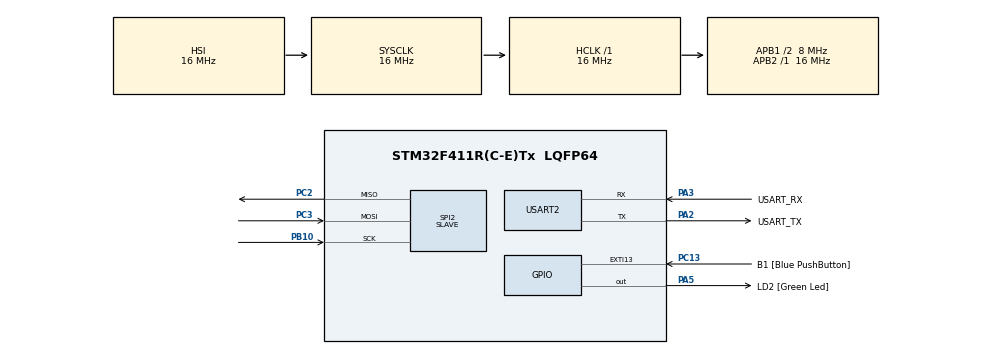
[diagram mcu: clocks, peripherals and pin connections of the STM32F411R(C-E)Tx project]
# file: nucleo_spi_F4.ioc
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Mcu.Family=STM32F4
Mcu.Name=STM32F411R(C-E)Tx
Mcu.Package=LQFP64
NVIC.PriorityGroup=NVIC_PRIORITYGROUP_0
NVIC.SPI2_IRQn=true\:0\:0\:false\:false\:true\:true
NVIC.TIM3_IRQn=true\:0\:0\:false\:false\:true\:true
PA13.GPIO_Label=TMS
PA13.Signal=SYS_JTMS-SWDIO
PA14.GPIO_Label=TCK
PA14.Signal=SYS_JTCK-SWCLK
PA2.GPIO_Label=USART_TX
PA2.Mode=Asynchronous
PA2.Signal=USART2_TX
PA3.GPIO_Label=USART_RX
PA3.Mode=Asynchronous
PA3.Signal=USART2_RX
PA5.GPIO_Label=LD2 [Green Led]
PA5.Signal=GPIO_Output
PA5.Stacked=true
PB10.Mode=Full_Duplex_Slave
PB10.Signal=SPI2_SCK
PB3.GPIO_Label=SWO
PB3.Signal=SYS_JTDO-SWO
PC13-ANTI_TAMP.GPIO_Label=B1 [Blue PushButton]
PC13-ANTI_TAMP.GPIO_ModeDefaultEXTI=GPIO_MODE_IT_FALLING
PC13-ANTI_TAMP.Signal=GPXTI13
PC14-OSC32_IN.Signal=RCC_OSC32_IN
PC15-OSC32_OUT.Signal=RCC_OSC32_OUT
PC2.Mode=Full_Duplex_Slave
PC2.Signal=SPI2_MISO
PC3.Mode=Full_Duplex_Slave
PC3.Signal=SPI2_MOSI
PH0\ -\ OSC_IN.Signal=RCC_OSC_IN
PH1\ -\ OSC_OUT.Signal=RCC_OSC_OUT
ProjectManager.HeapSize=0x200
ProjectManager.StackSize=0x400
ProjectManager.TargetToolchain=Makefile
RCC.48MHZClocksFreq_Value=84000000
RCC.AHBFreq_Value=16000000
RCC.APB1CLKDivider=RCC_HCLK_DIV2
RCC.APB1Freq_Value=8000000
RCC.APB1TimFreq_Value=16000000
RCC.APB2Freq_Value=16000000
RCC.APB2TimFreq_Value=16000000
RCC.CortexFreq_Value=16000000
RCC.FLatency-AdvancedSettings=FLASH_LATENCY_0
RCC.HCLKFreq_Value=16000000
RCC.HSE_VALUE=8000000
RCC.HSI_VALUE=16000000
RCC.LSE_VALUE=32768
RCC.PLLN=336
RCC.PLLP=RCC_PLLP_DIV4
RCC.SYSCLKFreq_VALUE=16000000
RCC.VCOOutputFreq_Value=336000000
SPI2.Direction=SPI_DIRECTION_2LINES
SPI2.Mode=SPI_MODE_SLAVE
SPI2.VirtualType=VM_SLAVE
TIM3.Period=1000
TIM3.Prescaler=16000
USART2.VirtualMode=VM_ASYNC
VP_TIM3_VS_ClockSourceINT.Mode=Internal
board=NUCLEO-F411RE

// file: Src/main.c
/**
  ******************************************************************************
  * File Name          : main.c
  * Description        : Main program body
  ******************************************************************************
  ** This notice applies to any and all portions of this file
  * that are not between comment pairs USER CODE BEGIN and
  * USER CODE END. Other portions of this file, whether
  * inserted by the user or by software development tools
  * are owned by their respective copyright owners.
  *
  * COPYRIGHT(c) 2018 STMicroelectronics
  *
  * Redistribution and use in source and binary forms, with or without modification,
  * are permitted provided that the following conditions are met:
  *   1. Redistributions of source code must retain the above copyright notice,
  *      this list of conditions and the following disclaimer.
  *   2. Redistributions in binary form must reproduce the above copyright notice,
  *      this list of conditions and the following disclaimer in the documentation
  *      and/or other materials provided with the distribution.
  *   3. Neither the name of STMicroelectronics nor the names of its contributors
  *      may be used to endorse or promote products derived from this software
  *      without specific prior written permission.
  *
  * THIS SOFTWARE IS PROVIDED BY THE COPYRIGHT HOLDERS AND CONTRIBUTORS "AS IS"
  * AND ANY EXPRESS OR IMPLIED WARRANTIES, INCLUDING, BUT NOT LIMITED TO, THE
  * IMPLIED WARRANTIES OF MERCHANTABILITY AND FITNESS FOR A PARTICULAR PURPOSE ARE
  * DISCLAIMED. IN NO EVENT SHALL THE COPYRIGHT HOLDER OR CONTRIBUTORS BE LIABLE
  * FOR ANY DIRECT, INDIRECT, INCIDENTAL, SPECIAL, EXEMPLARY, OR CONSEQUENTIAL
  * DAMAGES (INCLUDING, BUT NOT LIMITED TO, PROCUREMENT OF SUBSTITUTE GOODS OR
  * SERVICES; LOSS OF USE, DATA, OR PROFITS; OR BUSINESS INTERRUPTION) HOWEVER
  * CAUSED AND ON ANY THEORY OF LIABILITY, WHETHER IN CONTRACT, STRICT LIABILITY,
  * OR TORT (INCLUDING NEGLIGENCE OR OTHERWISE) ARISING IN ANY WAY OUT OF THE USE
  * OF THIS SOFTWARE, EVEN IF ADVISED OF THE POSSIBILITY OF SUCH DAMAGE.
  *
  ******************************************************************************
  */

#include "main.h"
#include "stm32f4xx_hal.h"

SPI_HandleTypeDef hspi2;

TIM_HandleTypeDef htim3;

UART_HandleTypeDef huart2;

/* USER CODE BEGIN PV */
/* Private variables ---------------------------------------------------------*/
volatile uint8_t spiTxBuf[9] = {0x00, 0x01, 0x02, 0x03, 0x04, 0x05, 0x06, 0x07, 0x08};
volatile uint8_t spiRxBuf[32];
/* USER CODE END PV */

void SystemClock_Config(void);
static void MX_GPIO_Init(void);
static void MX_SPI2_Init(void);
static void MX_TIM3_Init(void);
static void MX_USART2_UART_Init(void);

/* USER CODE BEGIN PFP */
/* Private function prototypes -----------------------------------------------*/

/* USER CODE END PFP */

int main(void)
{

  /* MCU Configuration----------------------------------------------------------*/

  /* Reset of all peripherals, Initializes the Flash interface and the Systick. */
  HAL_Init();

  /* Configure the system clock */
  SystemClock_Config();

  /* Initialize all configured peripherals */
  MX_GPIO_Init();
  MX_SPI2_Init();
  MX_TIM3_Init();
  MX_USART2_UART_Init();

  /* USER CODE BEGIN 2 */
  HAL_TIM_Base_Start_IT(&htim3);
  /* USER CODE END 2 */

  /* Infinite loop */
  /* USER CODE BEGIN WHILE */
  HAL_SPI_Receive_IT(&hspi2, (uint8_t*)spiRxBuf, sizeof(spiRxBuf));
  //HAL_SPI_TransmitReceive_IT(&hspi2, (uint8_t*)spiTxBuf, (uint8_t*)spiRxBuf, sizeof(spiTxBuf));
  while (1)
  {
  /* USER CODE END WHILE */

  }

}

/** System Clock Configuration
*/
void SystemClock_Config(void)
{

  RCC_OscInitTypeDef RCC_OscInitStruct;
  RCC_ClkInitTypeDef RCC_ClkInitStruct;

    /**Configure the main internal regulator output voltage
    */
  __HAL_RCC_PWR_CLK_ENABLE();

  __HAL_PWR_VOLTAGESCALING_CONFIG(PWR_REGULATOR_VOLTAGE_SCALE1);

    /**Initializes the CPU, AHB and APB busses clocks
    */
  RCC_OscInitStruct.OscillatorType = RCC_OSCILLATORTYPE_HSI;
  RCC_OscInitStruct.HSIState = RCC_HSI_ON;
  RCC_OscInitStruct.HSICalibrationValue = 16;
  RCC_OscInitStruct.PLL.PLLState = RCC_PLL_NONE;
  if (HAL_RCC_OscConfig(&RCC_OscInitStruct) != HAL_OK)
  {
    _Error_Handler(__FILE__, __LINE__);
  }

    /**Initializes the CPU, AHB and APB busses clocks
    */
  RCC_ClkInitStruct.ClockType = RCC_CLOCKTYPE_HCLK|RCC_CLOCKTYPE_SYSCLK
                              |RCC_CLOCKTYPE_PCLK1|RCC_CLOCKTYPE_PCLK2;
  RCC_ClkInitStruct.SYSCLKSource = RCC_SYSCLKSOURCE_HSI;
  RCC_ClkInitStruct.AHBCLKDivider = RCC_SYSCLK_DIV1;
  RCC_ClkInitStruct.APB1CLKDivider = RCC_HCLK_DIV2;
  RCC_ClkInitStruct.APB2CLKDivider = RCC_HCLK_DIV1;

  if (HAL_RCC_ClockConfig(&RCC_ClkInitStruct, FLASH_LATENCY_0) != HAL_OK)
  {
    _Error_Handler(__FILE__, __LINE__);
  }

    /**Configure the Systick interrupt time
    */
  HAL_SYSTICK_Config(HAL_RCC_GetHCLKFreq()/1000);

    /**Configure the Systick
    */
  HAL_SYSTICK_CLKSourceConfig(SYSTICK_CLKSOURCE_HCLK);

  /* SysTick_IRQn interrupt configuration */
  HAL_NVIC_SetPriority(SysTick_IRQn, 0, 0);
}

/* SPI2 init function */
static void MX_SPI2_Init(void)
{

  /* SPI2 parameter configuration*/
  hspi2.Instance = SPI2;
  hspi2.Init.Mode = SPI_MODE_SLAVE;
  hspi2.Init.Direction = SPI_DIRECTION_2LINES;
  hspi2.Init.DataSize = SPI_DATASIZE_8BIT;
  hspi2.Init.CLKPolarity = SPI_POLARITY_LOW;
  hspi2.Init.CLKPhase = SPI_PHASE_1EDGE;
  hspi2.Init.NSS = SPI_NSS_SOFT;
  hspi2.Init.FirstBit = SPI_FIRSTBIT_MSB;
  hspi2.Init.TIMode = SPI_TIMODE_DISABLE;
  hspi2.Init.CRCCalculation = SPI_CRCCALCULATION_DISABLE;
  hspi2.Init.CRCPolynomial = 10;
  if (HAL_SPI_Init(&hspi2) != HAL_OK)
  {
    _Error_Handler(__FILE__, __LINE__);
  }

}

/* TIM3 init function */
static void MX_TIM3_Init(void)
{

  TIM_ClockConfigTypeDef sClockSourceConfig;
  TIM_MasterConfigTypeDef sMasterConfig;

  htim3.Instance = TIM3;
  htim3.Init.Prescaler = 16000;
  htim3.Init.CounterMode = TIM_COUNTERMODE_UP;
  htim3.Init.Period = 1000;
  htim3.Init.ClockDivision = TIM_CLOCKDIVISION_DIV1;
  if (HAL_TIM_Base_Init(&htim3) != HAL_OK)
  {
    _Error_Handler(__FILE__, __LINE__);
  }

  sClockSourceConfig.ClockSource = TIM_CLOCKSOURCE_INTERNAL;
  if (HAL_TIM_ConfigClockSource(&htim3, &sClockSourceConfig) != HAL_OK)
  {
    _Error_Handler(__FILE__, __LINE__);
  }

  sMasterConfig.MasterOutputTrigger = TIM_TRGO_RESET;
  sMasterConfig.MasterSlaveMode = TIM_MASTERSLAVEMODE_DISABLE;
  if (HAL_TIMEx_MasterConfigSynchronization(&htim3, &sMasterConfig) != HAL_OK)
  {
    _Error_Handler(__FILE__, __LINE__);
  }

}

/* USART2 init function */
static void MX_USART2_UART_Init(void)
{

  huart2.Instance = USART2;
  huart2.Init.BaudRate = 115200;
  huart2.Init.WordLength = UART_WORDLENGTH_8B;
  huart2.Init.StopBits = UART_STOPBITS_1;
  huart2.Init.Parity = UART_PARITY_NONE;
  huart2.Init.Mode = UART_MODE_TX_RX;
  huart2.Init.HwFlowCtl = UART_HWCONTROL_NONE;
  huart2.Init.OverSampling = UART_OVERSAMPLING_16;
  if (HAL_UART_Init(&huart2) != HAL_OK)
  {
    _Error_Handler(__FILE__, __LINE__);
  }

}

/** Configure pins as
        * Analog
        * Input
        * Output
        * EVENT_OUT
        * EXTI
*/
static void MX_GPIO_Init(void)
{

  GPIO_InitTypeDef GPIO_InitStruct;

  /* GPIO Ports Clock Enable */
  __HAL_RCC_GPIOC_CLK_ENABLE();
  __HAL_RCC_GPIOH_CLK_ENABLE();
  __HAL_RCC_GPIOA_CLK_ENABLE();
  __HAL_RCC_GPIOB_CLK_ENABLE();

  /*Configure GPIO pin Output Level */
  HAL_GPIO_WritePin(LD2_GPIO_Port, LD2_Pin, GPIO_PIN_RESET);

  /*Configure GPIO pin : B1_Pin */
  GPIO_InitStruct.Pin = B1_Pin;
  GPIO_InitStruct.Mode = GPIO_MODE_IT_FALLING;
  GPIO_InitStruct.Pull = GPIO_NOPULL;
  HAL_GPIO_Init(B1_GPIO_Port, &GPIO_InitStruct);

  /*Configure GPIO pin : LD2_Pin */
  GPIO_InitStruct.Pin = LD2_Pin;
  GPIO_InitStruct.Mode = GPIO_MODE_OUTPUT_PP;
  GPIO_InitStruct.Pull = GPIO_NOPULL;
  GPIO_InitStruct.Speed = GPIO_SPEED_FREQ_LOW;
  HAL_GPIO_Init(LD2_GPIO_Port, &GPIO_InitStruct);

}

/* USER CODE BEGIN 4 */
void HAL_TIM_PeriodElapsedCallback(TIM_HandleTypeDef *htim)
{
    if (htim->Instance == htim3.Instance)
    {
        HAL_GPIO_TogglePin(LD2_GPIO_Port, LD2_Pin);
    }
}

void HAL_SPI_RxCpltCallback (SPI_HandleTypeDef * hspi)
{
    uint16_t i;

    printf("HAL_SPI_RxCpltCallback, size %u: ", hspi->RxXferSize);
    for (i = 0; i < hspi->RxXferSize; i++)
    {
        printf("%02x ", spiRxBuf[i]);
    }
    printf("\n");

    HAL_SPI_Receive_IT(&hspi2, (uint8_t*)spiRxBuf, sizeof(spiRxBuf));
}

void HAL_SPI_ErrorCallback (SPI_HandleTypeDef * hspi)
{
    printf("HAL_SPI_ErrorCallback - 0x%08lx\n", hspi->ErrorCode);
    HAL_SPI_Receive_IT(&hspi2, (uint8_t*)spiRxBuf, sizeof(spiRxBuf));
}

/* USER CODE END 4 */

void _Error_Handler(char * file, int line)
{
  /* USER CODE BEGIN Error_Handler_Debug */
  /* User can add his own implementation to report the HAL error return state */
  printf("Error in %s, %d\n", file, line);
  while(1)
  {
  }
  /* USER CODE END Error_Handler_Debug */
}

/************************ (C) COPYRIGHT STMicroelectronics *****END OF FILE****/
